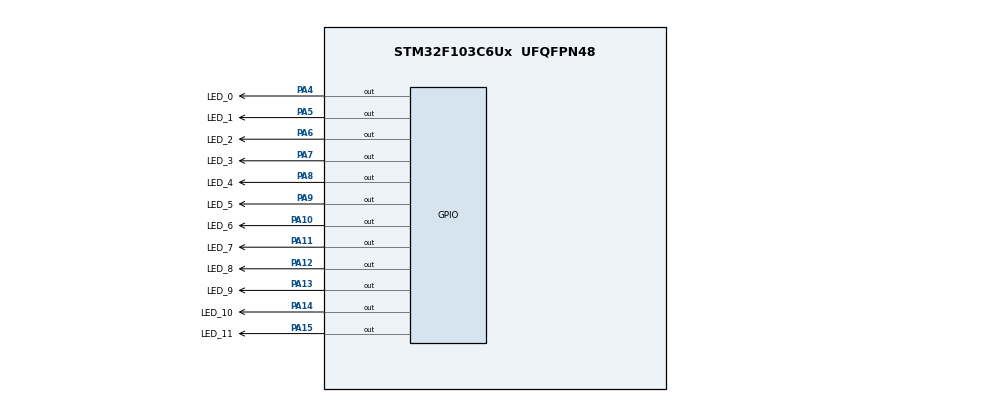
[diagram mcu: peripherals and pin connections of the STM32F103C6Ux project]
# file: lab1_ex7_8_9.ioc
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Mcu.Family=STM32F1
Mcu.Name=STM32F103C6Ux
Mcu.Package=UFQFPN48
NVIC.PriorityGroup=NVIC_PRIORITYGROUP_4
PA10.GPIO_Label=LED_6
PA10.GPIO_ModeDefaultOutputPP=GPIO_MODE_OUTPUT_PP
PA10.GPIO_PuPd=GPIO_NOPULL
PA10.GPIO_Speed=GPIO_SPEED_FREQ_LOW
PA10.PinState=GPIO_PIN_RESET
PA10.Signal=GPIO_Output
PA11.GPIO_Label=LED_7
PA11.GPIO_ModeDefaultOutputPP=GPIO_MODE_OUTPUT_PP
PA11.GPIO_PuPd=GPIO_NOPULL
PA11.GPIO_Speed=GPIO_SPEED_FREQ_LOW
PA11.PinState=GPIO_PIN_RESET
PA11.Signal=GPIO_Output
PA12.GPIO_Label=LED_8
PA12.GPIO_ModeDefaultOutputPP=GPIO_MODE_OUTPUT_PP
PA12.GPIO_PuPd=GPIO_NOPULL
PA12.GPIO_Speed=GPIO_SPEED_FREQ_LOW
PA12.PinState=GPIO_PIN_RESET
PA12.Signal=GPIO_Output
PA13.GPIO_Label=LED_9
PA13.GPIO_ModeDefaultOutputPP=GPIO_MODE_OUTPUT_PP
PA13.GPIO_PuPd=GPIO_NOPULL
PA13.GPIO_Speed=GPIO_SPEED_FREQ_LOW
PA13.PinState=GPIO_PIN_RESET
PA13.Signal=GPIO_Output
PA14.GPIO_Label=LED_10
PA14.GPIO_ModeDefaultOutputPP=GPIO_MODE_OUTPUT_PP
PA14.GPIO_PuPd=GPIO_NOPULL
PA14.GPIO_Speed=GPIO_SPEED_FREQ_LOW
PA14.PinState=GPIO_PIN_RESET
PA14.Signal=GPIO_Output
PA15.GPIO_Label=LED_11
PA15.GPIO_ModeDefaultOutputPP=GPIO_MODE_OUTPUT_PP
PA15.GPIO_PuPd=GPIO_NOPULL
PA15.GPIO_Speed=GPIO_SPEED_FREQ_LOW
PA15.PinState=GPIO_PIN_RESET
PA15.Signal=GPIO_Output
PA4.GPIO_Label=LED_0
PA4.GPIO_ModeDefaultOutputPP=GPIO_MODE_OUTPUT_PP
PA4.GPIO_PuPd=GPIO_NOPULL
PA4.GPIO_Speed=GPIO_SPEED_FREQ_LOW
PA4.PinState=GPIO_PIN_RESET
PA4.Signal=GPIO_Output
PA5.GPIO_Label=LED_1
PA5.GPIO_ModeDefaultOutputPP=GPIO_MODE_OUTPUT_PP
PA5.GPIO_PuPd=GPIO_NOPULL
PA5.GPIO_Speed=GPIO_SPEED_FREQ_LOW
PA5.PinState=GPIO_PIN_RESET
PA5.Signal=GPIO_Output
PA6.GPIO_Label=LED_2
PA6.GPIO_ModeDefaultOutputPP=GPIO_MODE_OUTPUT_PP
PA6.GPIO_PuPd=GPIO_NOPULL
PA6.GPIO_Speed=GPIO_SPEED_FREQ_LOW
PA6.PinState=GPIO_PIN_RESET
PA6.Signal=GPIO_Output
PA7.GPIO_Label=LED_3
PA7.GPIO_ModeDefaultOutputPP=GPIO_MODE_OUTPUT_PP
PA7.GPIO_PuPd=GPIO_NOPULL
PA7.GPIO_Speed=GPIO_SPEED_FREQ_LOW
PA7.PinState=GPIO_PIN_RESET
PA7.Signal=GPIO_Output
PA8.GPIO_Label=LED_4
PA8.GPIO_ModeDefaultOutputPP=GPIO_MODE_OUTPUT_PP
PA8.GPIO_PuPd=GPIO_NOPULL
PA8.GPIO_Speed=GPIO_SPEED_FREQ_LOW
PA8.PinState=GPIO_PIN_RESET
PA8.Signal=GPIO_Output
PA9.GPIO_Label=LED_5
PA9.GPIO_ModeDefaultOutputPP=GPIO_MODE_OUTPUT_PP
PA9.GPIO_PuPd=GPIO_NOPULL
PA9.GPIO_Speed=GPIO_SPEED_FREQ_LOW
PA9.PinState=GPIO_PIN_RESET
PA9.Signal=GPIO_Output
ProjectManager.HeapSize=0x200
ProjectManager.StackSize=0x400
ProjectManager.TargetToolchain=STM32CubeIDE
RCC.APB1Freq_Value=8000000
RCC.APB2Freq_Value=8000000
board=custom

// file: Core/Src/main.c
/* USER CODE BEGIN Header */
/**
  ******************************************************************************
  * @file           : main.c
  * @brief          : Main program body
  ******************************************************************************
  * @attention
  *
  * Copyright (c) 2025 STMicroelectronics.
  * All rights reserved.
  *
  * This software is licensed under terms that can be found in the LICENSE file
  * in the root directory of this software component.
  * If no LICENSE file comes with this software, it is provided AS-IS.
  *
  ******************************************************************************
  */
/* USER CODE END Header */
#include "main.h"

void SystemClock_Config(void);
static void MX_GPIO_Init(void);

int main(void)
{

  /* MCU Configuration--------------------------------------------------------*/

  /* Reset of all peripherals, Initializes the Flash interface and the Systick. */
  HAL_Init();

  /* Configure the system clock */
  SystemClock_Config();

  /* Initialize all configured peripherals */
  MX_GPIO_Init();
  /* USER CODE BEGIN 2 */

void clearAllClock(){
	HAL_GPIO_WritePin(GPIOA, GPIO_PIN_All, RESET);
}

void setNumberOnClock(int num){
	if (num < 0 || num > 11) return;

	    int pinIndex = num + 4; // LED0 -> PA4, LED11 -> PA15

	   /* for (int i = 4; i <= 15; i++)
	    {
	        HAL_GPIO_WritePin(GPIOA, GPIO_PIN_0 << i, RESET);
	    } */

	    HAL_GPIO_WritePin(GPIOA, GPIO_PIN_0 << pinIndex, SET);
}

/*void clearNumberOnClock(int num)
{
    if (num < 0 || num > 11) return;

    int pinIndex = num + 4;

    HAL_GPIO_WritePin(GPIOA, GPIO_PIN_0 << pinIndex, RESET);
}*/

void displayClock(int hour, int minute, int second) {
    clearAllClock();

    int ledHour   = hour % 12;          // 12h -> LED 0
    int ledMinute = (minute / 5) % 12;
    int ledSecond = (second / 5) % 12;

    setNumberOnClock(ledHour);
    setNumberOnClock(ledMinute);
    setNumberOnClock(ledSecond);
}
  /* USER CODE END 2 */

  /* Infinite loop */
  /* USER CODE BEGIN WHILE */
int hour = 2;
int minute = 15;
int second = 0;
  while (1)
  {
    /* USER CODE END WHILE */
	 /*for (int i =0 ; i< 12; i++){
		 clearAllClock();
		 setNumberOnClock(i);
		 HAL_Delay(1000);
		 clearNumberOnClock(i);
	 }*/

	  displayClock(hour, minute, second);

	      HAL_Delay(5);
	      second++;
	      if (second >= 60) {
	          second = 0;
	          minute++;
	      }
	      if (minute >= 60) {
	          minute = 0;
	          hour++;
	      }
	      if (hour >= 12) {
	          hour = 0;
	      }
  }
  /* USER CODE END 3 */
}

void SystemClock_Config(void)
{
  RCC_OscInitTypeDef RCC_OscInitStruct = {0};
  RCC_ClkInitTypeDef RCC_ClkInitStruct = {0};

  /** Initializes the RCC Oscillators according to the specified parameters
  * in the RCC_OscInitTypeDef structure.
  */
  RCC_OscInitStruct.OscillatorType = RCC_OSCILLATORTYPE_HSI;
  RCC_OscInitStruct.HSIState = RCC_HSI_ON;
  RCC_OscInitStruct.HSICalibrationValue = RCC_HSICALIBRATION_DEFAULT;
  RCC_OscInitStruct.PLL.PLLState = RCC_PLL_NONE;
  if (HAL_RCC_OscConfig(&RCC_OscInitStruct) != HAL_OK)
  {
    Error_Handler();
  }

  /** Initializes the CPU, AHB and APB buses clocks
  */
  RCC_ClkInitStruct.ClockType = RCC_CLOCKTYPE_HCLK|RCC_CLOCKTYPE_SYSCLK
                              |RCC_CLOCKTYPE_PCLK1|RCC_CLOCKTYPE_PCLK2;
  RCC_ClkInitStruct.SYSCLKSource = RCC_SYSCLKSOURCE_HSI;
  RCC_ClkInitStruct.AHBCLKDivider = RCC_SYSCLK_DIV1;
  RCC_ClkInitStruct.APB1CLKDivider = RCC_HCLK_DIV1;
  RCC_ClkInitStruct.APB2CLKDivider = RCC_HCLK_DIV1;

  if (HAL_RCC_ClockConfig(&RCC_ClkInitStruct, FLASH_LATENCY_0) != HAL_OK)
  {
    Error_Handler();
  }
}

static void MX_GPIO_Init(void)
{
  GPIO_InitTypeDef GPIO_InitStruct = {0};

  /* GPIO Ports Clock Enable */
  __HAL_RCC_GPIOA_CLK_ENABLE();

  /*Configure GPIO pin Output Level */
  HAL_GPIO_WritePin(GPIOA, LED_0_Pin|LED_1_Pin|LED_2_Pin|LED_3_Pin
                          |LED_4_Pin|LED_5_Pin|LED_6_Pin|LED_7_Pin
                          |LED_8_Pin|LED_9_Pin|LED_10_Pin|LED_11_Pin, GPIO_PIN_RESET);

  /*Configure GPIO pins : LED_0_Pin LED_1_Pin LED_2_Pin LED_3_Pin
                           LED_4_Pin LED_5_Pin LED_6_Pin LED_7_Pin
                           LED_8_Pin LED_9_Pin LED_10_Pin LED_11_Pin */
  GPIO_InitStruct.Pin = LED_0_Pin|LED_1_Pin|LED_2_Pin|LED_3_Pin
                          |LED_4_Pin|LED_5_Pin|LED_6_Pin|LED_7_Pin
                          |LED_8_Pin|LED_9_Pin|LED_10_Pin|LED_11_Pin;
  GPIO_InitStruct.Mode = GPIO_MODE_OUTPUT_PP;
  GPIO_InitStruct.Pull = GPIO_NOPULL;
  GPIO_InitStruct.Speed = GPIO_SPEED_FREQ_LOW;
  HAL_GPIO_Init(GPIOA, &GPIO_InitStruct);

}

void Error_Handler(void)
{
  __disable_irq();
  while (1)
  {
  }
}
